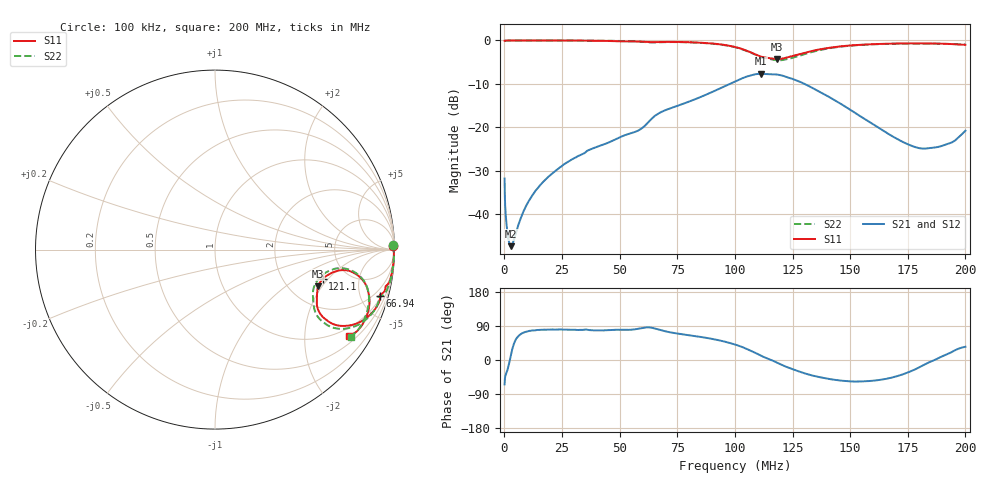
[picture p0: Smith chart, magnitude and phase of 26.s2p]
#  HZ  S  RI  R  50.00
! Rohde & Schwarz Vector Network Analyzer
! Rohde-Schwarz,ZNLE6-2Port,1323001256200024,1.71.1.10-23.02.1.238
! Created: UTC 4/7/2025, 6:15:56 AM
! freq[Hz]  re:S11  im:S11  re:S21  im:S21  re:S12  im:S12  re:S22  im:S22
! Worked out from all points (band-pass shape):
!   1001 points, 100 kHz to 200 MHz, reference 50 ohm
!   highest |S21| = -7.70 dB at 111.4 MHz (marker M1); lowest = -47.4 dB at 2.878 MHz (marker M2)
!   |S21| within 3 dB of the highest: 95.03 MHz to 132.8 MHz (37.72 MHz wide, 33.1 % of centre)
!   lowest |S11| = -4.3 dB at 118.4 MHz (marker M3), VSWR 4.12, Z = 141 - j91.7 ohm
!   |S11| at or under -10 dB: nowhere
!   |S22| runs from -4.6 to 0.0 dB; largest |S21 - S12| = 0.0084
!   S11 on the Smith chart (normalised r, x): 100 kHz: 33, +71; 66.94 MHz: 1.17, -7.08; 121.1 MHz: 3.28, -1.74; 200 MHz: 0.72, -3.28
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100000  0.989 0.0228  0.0111 -0.0231  0.0111 -0.0232  0.9891 0.0228
355854.1  0.9909 0.0076  0.00898 -0.00855  0.009 -0.00857  0.9912 0.00762
1266322  0.9944 -0.000164  0.00561 -0.00295  0.00562 -0.00296  0.9944 -0.000395
2155838  0.9954 -0.00489  0.00456 -0.000503  0.00457 -0.000504  0.9953 -0.00505
2877765  0.9961 -0.00807  0.00413 0.0011  0.00415 0.00102  0.9963 -0.008
4472136  0.9962 -0.0153  0.00362 0.00404  0.00367 0.00399  0.9969 -0.015
1.591428e7  0.9949 -0.0619  0.00402 0.0218  0.00424 0.0217  0.9952 -0.0635
3.616581e7  0.9819 -0.1467  0.00977 0.053  0.0112 0.0526  0.9825 -0.148
5.663162e7  0.9446 -0.2306  0.0138 0.0872  0.0162 0.0863  0.9413 -0.2495
6.693938e7  0.9207 -0.2581  0.0236 0.1423  0.03 0.1416  0.9115 -0.2656
8.344716e7  0.8772 -0.3501  0.099 0.1893  0.1051 0.1866  0.8677 -0.3644
9.788884e7  0.7531 -0.4219  0.2244 0.2224  0.231 0.2175  0.7381 -0.4387
1.048196e8  0.6464 -0.4095  0.3294 0.1902  0.3347 0.1837  0.6297 -0.423
1.113911e8  0.5685 -0.3147  0.4041 0.0796  0.4063 0.0722  0.553 -0.3291
1.183747e8  0.5746 -0.204  0.4004 -0.0514  0.3994 -0.0581  0.5496 -0.2147
1.21105e8  0.5991 -0.1633  0.376 -0.1008  0.3738 -0.1068  0.5714 -0.1701
1.316659e8  0.7249 -0.1147  0.2386 -0.1846  0.234 -0.1876  0.7049 -0.1037
1.464495e8  0.8355 -0.1871  0.1056 -0.1488  0.1012 -0.1496  0.8308 -0.176
1.592205e8  0.8603 -0.2724  0.0638 -0.0913  0.0601 -0.0925  0.858 -0.2675
1.770979e8  0.841 -0.38  0.0536 -0.0282  0.0522 -0.0302  0.8356 -0.3789
1.867759e8  0.8118 -0.4314  0.0585 0.000508  0.0585 -0.00184  0.8075 -0.4329
2e8  0.7491 -0.4786  0.0747 0.0522  0.0769 0.05  0.7564 -0.4863
